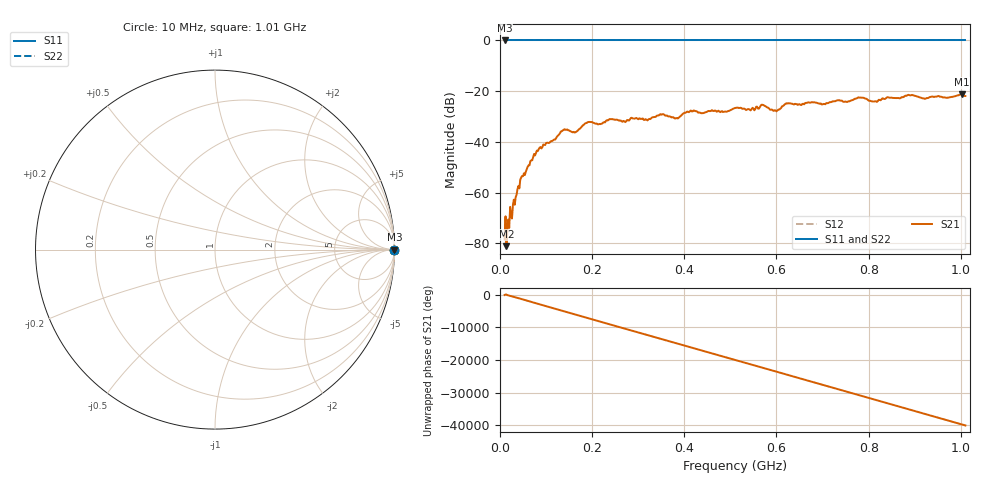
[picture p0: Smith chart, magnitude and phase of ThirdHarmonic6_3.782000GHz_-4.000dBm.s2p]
! 8/17/2025 1:02:27 PM
! C:\ANRITSUVNA\TEMP\TEMP.S2P
! CHANNEL.1
! TR.MEASUREMENT
! RAW.DATA
! RF.CORRECTION.OFF
! AVERAGING.OFF
! IF.BANDWIDTH: 5KHZ
! SWEEPTYPE:  FREQ.SWEEP(Linear)
! Reference Plane Port Info
! PORT:  PORT1  PORT2
! DISTANCE:  0  m  0  m
! TIME:  0  s  0  s
! PHASE.OFFSET:  0  deg.  0  deg.
! LOSS:  0  dB  0  dB
! REF.LOSS:  0  dB  0  dB
! REF.FREQ:  0  Hz  0  Hz
! Power Info
! POWER:  -20  dBm  -20  dBm
! EFF.POWER:  -20  dBm  -20  dBm
! SOURCE.ATTEN:  0  dB  0  dB
! TEST.ATTEN:  0  dB  0  dB
# GHZ S RI R 50.0
! FREQ.GHZ  S11RE  S11IM  S21RE  S21IM  S12RE  S12IM  S22RE  S22IM
!; PortSelection: Port_12
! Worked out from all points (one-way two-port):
!   501 points, 10 MHz to 1.01 GHz, reference 50 ohm
!   highest |S21| = -21.22 dB at 1.002 GHz (marker M1); lowest = -81.1 dB at 14 MHz (marker M2)
!   lowest |S11| = 0.0 dB at 10 MHz (marker M3)
!   |S11| at or under -10 dB: nowhere
!   |S22| runs from 0.0 to 0.0 dB; largest |S21 - S12| = 1.1
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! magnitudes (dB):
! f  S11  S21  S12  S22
! 10 MHz  0.0  -78.5  0.0  0.0
! 14 MHz  0.0  -81.1  0.0  0.0
! 48 MHz  0.0  -53.4  0.0  0.0
! 76 MHz  0.0  -45.3  0.0  0.0
! 136 MHz  0.0  -35.5  0.0  0.0
! 162 MHz  0.0  -36.3  0.0  0.0
! 178 MHz  0.0  -33.9  0.0  0.0
! 194 MHz  0.0  -32.1  0.0  0.0
! 318 MHz  0.0  -31.2  0.0  0.0
! 344 MHz  0.0  -29.6  0.0  0.0
! 384 MHz  0.0  -30.6  0.0  0.0
! 410 MHz  0.0  -28.3  0.0  0.0
! 510 MHz  0.0  -26.6  0.0  0.0
! 570 MHz  0.0  -25.4  0.0  0.0
! 598 MHz  0.0  -27.6  0.0  0.0
! 622 MHz  0.0  -24.7  0.0  0.0
! 678 MHz  0.0  -24.4  0.0  0.0
! 782 MHz  0.0  -22.5  0.0  0.0
! 814 MHz  0.0  -24.0  0.0  0.0
! 844 MHz  0.0  -22.5  0.0  0.0
! 1.002 GHz  0.0  -21.2  0.0  0.0
! 1.01 GHz  0.0  -21.9  0.0  0.0
